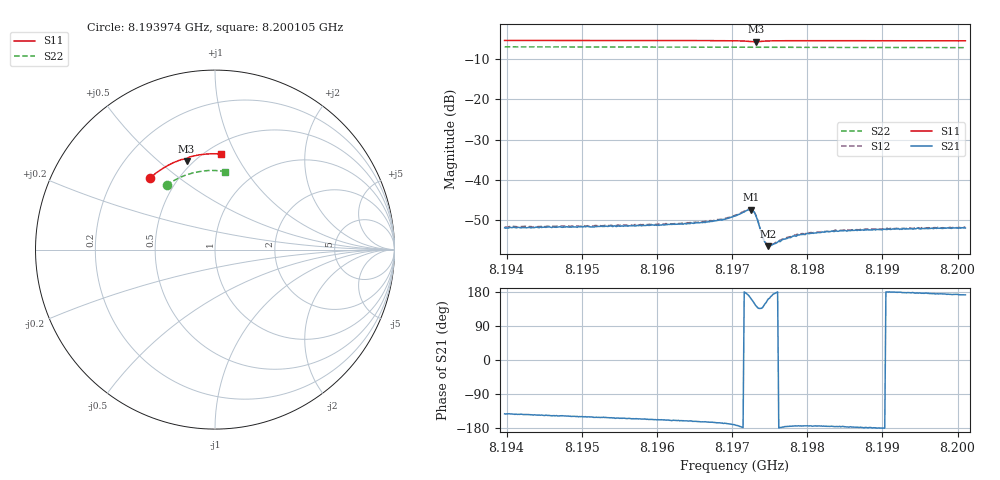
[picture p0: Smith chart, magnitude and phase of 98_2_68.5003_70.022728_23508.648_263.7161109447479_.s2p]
#  HZ  S  RI  R  50.00
! Rohde & Schwarz Vector Network Analyzer
! Rohde-Schwarz,ZNB20-2Port,1311601062101988,3.16
! Created: UTC 3/20/2024, 4:52:56 PM
! freq[Hz]  re:S11  im:S11  re:S21  im:S21  re:S12  im:S12  re:S22  im:S22
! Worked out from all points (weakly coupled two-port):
!   401 points, 8.193974 GHz to 8.200105 GHz, reference 50 ohm
!   highest |S21| = -47.33 dB at 8.197254 GHz (marker M1); lowest = -56.4 dB at 8.197484 GHz (marker M2)
!   lowest |S11| = -5.7 dB at 8.197315 GHz (marker M3), VSWR 3.16, Z = 23 + j31.1 ohm
!   |S11| at or under -10 dB: nowhere
!   |S22| runs from -7.2 to -7.0 dB; largest |S21 - S12| = 0.00025
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8.1939741e9  -0.3648 0.3964  -0.00201 -0.00157  -0.00209 -0.00154  -0.2702 0.3586
8.195001e9  -0.3078 0.4414  -0.00226 -0.00134  -0.00235 -0.0013  -0.2214 0.3889
8.1960279e9  -0.2449 0.478  -0.00253 -0.00104  -0.00267 -0.00098  -0.1692 0.4127
8.1966257e9  -0.2052 0.4954  -0.00287 -0.000864  -0.00296 -0.000762  -0.1374 0.4232
8.1968709e9  -0.1876 0.5015  -0.00311 -0.000747  -0.0032 -0.00065  -0.124 0.4268
8.1970395e9  -0.1741 0.5046  -0.00352 -0.000541  -0.00364 -0.000413  -0.1149 0.4291
8.1972081e9  -0.1585 0.502  -0.0042 0.000533  -0.00424 0.00072  -0.1055 0.4312
8.1972541e9  -0.1561 0.4983  -0.00409 0.00132  -0.0041 0.00153  -0.103 0.4314
8.1972847e9  -0.1564 0.4957  -0.00366 0.00185  -0.00361 0.00205  -0.1014 0.4319
8.1973154e9  -0.1587 0.4943  -0.00293 0.00216  -0.00289 0.00232  -0.1 0.4321
8.1973461e9  -0.161 0.4954  -0.00222 0.00207  -0.0022 0.00217  -0.0982 0.4323
8.197392e9  -0.1622 0.4999  -0.00156 0.00149  -0.00152 0.00155  -0.0958 0.433
8.1974227e9  -0.1611 0.5031  -0.00144 0.00107  -0.00141 0.00117  -0.0941 0.4334
8.1974533e9  -0.1592 0.5055  -0.00142 0.000772  -0.0014 0.000828  -0.0924 0.4336
8.197484e9  -0.157 0.5077  -0.00143 0.000483  -0.00146 0.000599  -0.0909 0.4341
8.19753e9  -0.1534 0.5103  -0.00154 0.000277  -0.00156 0.000353  -0.0882 0.4346
8.1976679e9  -0.1425 0.5152  -0.00182 -9.78e-05  -0.00185 -5.77e-06  -0.0803 0.4359
8.1978519e9  -0.1288 0.5194  -0.00199 -0.000214  -0.00208 -0.000125  -0.0703 0.4374
8.1980664e9  -0.1131 0.5231  -0.00219 -0.000203  -0.00221 -0.000143  -0.0582 0.4388
8.1984649e9  -0.0846 0.5284  -0.00233 -0.000198  -0.00238 -4.93e-05  -0.0358 0.4404
8.1990934e9  -0.04 0.5329  -0.00245 4.55e-06  -0.00248 0.000157  -0.000263 0.4407
8.200105e9  0.0316 0.5324  -0.00251 0.000356  -0.00253 0.000483  0.0569 0.435
